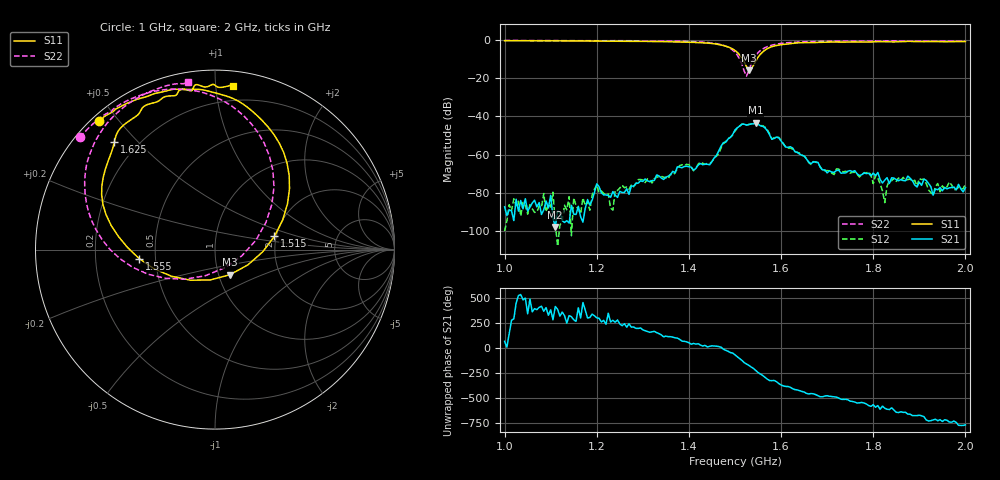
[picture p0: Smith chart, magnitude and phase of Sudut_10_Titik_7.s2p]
# Hz S RI R 50
! CMT, C1220, 16058040, 17.2.0/1
! Date: 14/08/2018 12:11:52
! Data: Format (Calibration Info)
! Freq  S11: Re/Im (F2)  S21: Re/Im (F2)  S12: Re/Im (F2)  S22: Re/Im (F2)
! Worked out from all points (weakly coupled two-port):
!   201 points, 1 GHz to 2 GHz, reference 50 ohm
!   highest |S21| = -43.21 dB at 1.545 GHz (marker M1); lowest = -98.0 dB at 1.11 GHz (marker M2)
!   lowest |S11| = -15.8 dB at 1.53 GHz (marker M3), VSWR 1.39, Z = 56.7 - j16.3 ohm
!   |S11| at or under -10 dB: 1.516 GHz to 1.547 GHz (30.87 MHz wide, 2.02 % of centre)
!   |S22| runs from -18.8 to -0.2 dB; largest |S21 - S12| = 0.0003
!   S11 on the Smith chart (normalised r, x): 1 GHz: 0.02, +0.44; 1.515 GHz: 1.95, +0.33; 1.555 GHz: 0.40, -0.05; 1.625 GHz: 0.12, +0.43; 2 GHz: 0.10, +1.11
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1e9  -0.6447 0.7145  1.94e-05 3.81e-05  3.9e-06 -9.12e-06  -0.7534 0.6252
1.11e9  -0.5434 0.7882  7.8e-06 9.97e-06  1.14e-05 -1.01e-05  -0.6717 0.707
1.17e9  -0.474 0.8221  -7e-07 1.7e-05  7.27e-05 -7.88e-06  -0.6165 0.7508
1.2e9  -0.4312 0.8383  8.37e-05 -0.000149  6.04e-05 -0.000147  -0.5825 0.7643
1.27e9  -0.3297 0.871  -4.66e-05 -7.77e-05  -9.14e-05 -8.22e-05  -0.5082 0.8202
1.335e9  -0.2137 0.8928  -0.000217 0.000172  -0.000196 0.000183  -0.4 0.8654
1.445e9  0.1556 0.8113  0.000524 0.000133  0.000551 0.000154  -0.0081 0.854
1.5e9  0.4151 0.3396  0.00146 -0.00417  0.00141 -0.00393  0.3287 0.3499
1.515e9  0.3313 0.0744  -0.00366 -0.00502  -0.00355 -0.00521  0.228 0.0521
1.53e9  0.0837 -0.1398  -0.0061 -0.000403  -0.00613 -0.000419  -0.0549 -0.1458
1.545e9  -0.243 -0.1482  -0.00475 0.00503  -0.00478 0.00492  -0.3742 -0.1369
1.555e9  -0.4217 -0.0505  -0.00071 0.00561  -0.000914 0.00566  -0.5298 -0.0506
1.625e9  -0.5606 0.5992  0.000949 -0.00115  0.000887 -0.00107  -0.701 0.5219
1.67e9  -0.4397 0.7428  -0.000122 -0.000634  -0.000131 -0.000642  -0.6247 0.6727
1.715e9  -0.3582 0.8136  -0.000226 -0.000255  -0.000191 -0.000228  -0.5503 0.7576
1.79e9  -0.211 0.867  -0.000254 0.000202  -0.000303 0.000185  -0.4377 0.841
1.825e9  -0.1606 0.8908  -8.8e-05 0.000195  1.73e-05 5.22e-05  -0.3895 0.8676
1.835e9  -0.1398 0.8848  -3.46e-05 0.00017  -3.35e-05 0.000202  -0.3761 0.874
1.91e9  -0.0342 0.9108  0.000196 0.000114  0.000209 9.1e-05  -0.2714 0.9129
1.93e9  -0.00811 0.9203  8.61e-05 -3.96e-06  8.88e-05 1.29e-06  -0.2427 0.9195
1.94e9  0.00212 0.9143  0.000118 -2.17e-05  0.000173 -1.38e-05  -0.2279 0.9223
2e9  0.0982 0.9104  8.42e-05 -0.000105  0.000106 -0.000131  -0.1518 0.933
